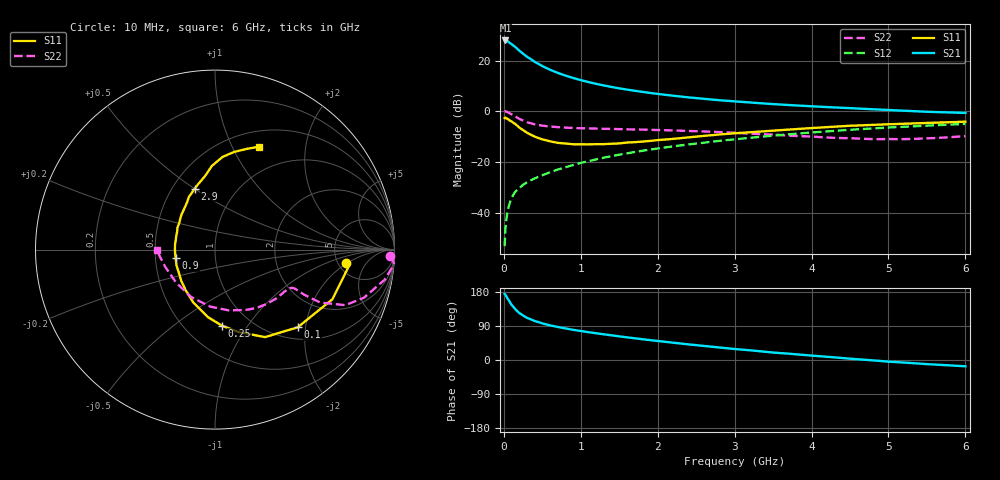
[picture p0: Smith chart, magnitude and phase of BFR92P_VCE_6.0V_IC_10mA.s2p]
! Infineon Technologies  Discrete & RF Semiconductors
! BFR92P
! VCE =  6.0 V,  IC =  10 mA
! Common Emitter S-Parameters:  Apr 2014
# GHz  S  MA  R  50
!  f  S11  S21  S12  S22
! GHz  MAG  ANG  MAG  ANG  MAG  ANG  MAG  ANG
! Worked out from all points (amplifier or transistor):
!   77 points, 10 MHz to 6 GHz, reference 50 ohm
!   highest |S21| = 27.9 dB at 20 MHz (marker M1)
!   |S21| within 3 dB of that: start of sweep to 164.8 MHz
!   unconditionally stable (mu >= 1): 734.2 MHz to 2.442 GHz
!   at 130 MHz: K = 0.38, MSG = 29.2 dB, |S12| = -32.6 dB
!   at 2.2 GHz: K = 1.02, MAG = 9.2 dB, |S12| = -13.8 dB
!   at 6 GHz: K = 0.86, MSG = 2.2 dB, |S12| = -5.0 dB
!   S11 on the Smith chart (normalised r, x): 10 MHz: 5.83, -1.93; 100 MHz: 1.26, -1.81; 250 MHz: 0.74, -0.77; 900 MHz: 0.64, -0.07; 2.9 GHz: 0.64, +0.50; 6 GHz: 0.68, +1.28
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0.01  0.7329 -6.0  24.65 174.4  0.0022 85.7  0.9773 -2.2
0.02  0.7493 -7.5  24.84 172.3  0.0047 85.0  1 -4.3
0.05  0.7105 -22.9  23.98 161.7  0.011 80.9  0.9599 -10.1
0.1  0.6323 -43.2  21.05 145.5  0.0194 70.5  0.8721 -17.9
0.15  0.5619 -60.2  18.44 133.9  0.0261 66.5  0.7889 -23.1
0.2  0.4788 -73.8  15.7 124.0  0.0306 64.2  0.7092 -25.1
0.25  0.4257 -84.7  13.6 117.5  0.0356 63.2  0.6569 -26.7
0.3  0.3793 -95.7  11.91 111.2  0.0398 63.0  0.6093 -26.8
0.4  0.3176 -112.5  9.462 102.9  0.0475 63.1  0.5539 -26.8
0.5  0.28 -125.5  7.778 96.6  0.0549 64.6  0.5214 -26.4
0.6  0.2558 -137.4  6.585 91.5  0.063 65.6  0.5011 -26.1
0.7  0.2387 -147.9  5.716 87.1  0.071 66.5  0.4872 -26.1
0.8  0.2318 -157.9  5.047 83.3  0.0789 66.7  0.4765 -26.6
0.9  0.2239 -167.5  4.536 79.7  0.0872 67.3  0.4688 -27.3
1.1  0.2231 179.1  3.761 73.4  0.104 67.1  0.46 -29.1
1.5  0.2328 155.0  2.832 62.4  0.1396 65.9  0.4456 -34.3
2.1  0.2777 130.0  2.109 48.0  0.1941 62.2  0.423 -44.0
2.9  0.3583 108.2  1.609 31.1  0.2705 55.2  0.3831 -60.4
3.1  0.377 104.3  1.529 27.3  0.2899 52.9  0.3696 -65.6
4.1  0.4767 90.6  1.232 10.1  0.3916 42.0  0.3105 -99.0
5.1  0.5609 77.5  1.043 -5.5  0.4869 28.7  0.2828 -143.7
6  0.6238 66.8  0.928 -16.6  0.5644 16.4  0.3252 -179.3
